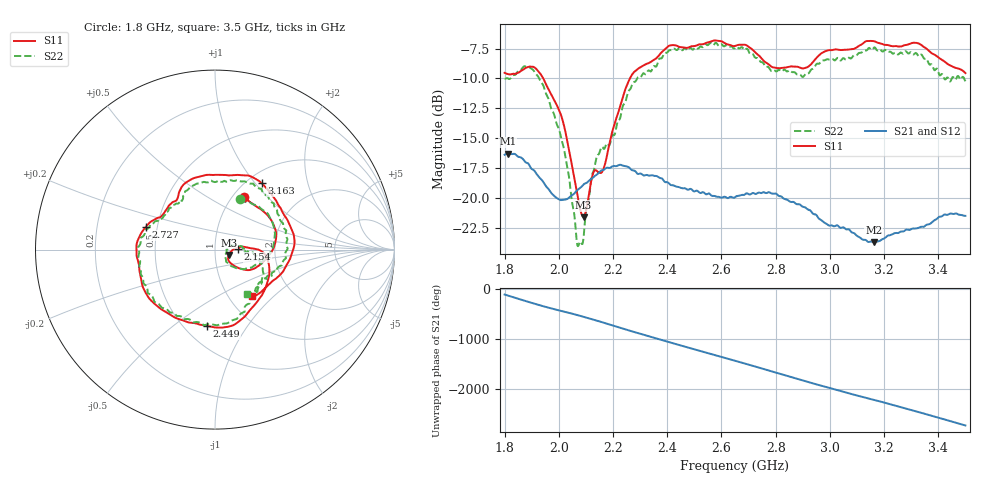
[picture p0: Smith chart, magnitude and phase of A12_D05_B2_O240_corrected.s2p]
! Created with skrf 1.9.0 (http://scikit-rf.org).
# Hz S RI R 50.0
!freq ReS11 ImS11 ReS21 ImS21 ReS12 ImS12 ReS22 ImS22
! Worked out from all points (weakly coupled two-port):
!   1601 points, 1.8 GHz to 3.5 GHz, reference 50 ohm
!   highest |S21| = -16.30 dB at 1.812 GHz (marker M1); lowest = -23.7 dB at 3.162 GHz (marker M2)
!   lowest |S11| = -21.6 dB at 2.091 GHz (marker M3), VSWR 1.18, Z = 58.2 - j3.56 ohm
!   |S11| at or under -10 dB: 1.943 GHz to 2.262 GHz (319.3 MHz wide, 15.2 % of centre)
!   |S22| runs from -24.0 to -7.0 dB; largest |S21 - S12| = 0.0028
!   S11 on the Smith chart (normalised r, x): 1.8 GHz: 1.13, +0.74; 2.154 GHz: 1.29, +0.01; 2.449 GHz: 0.64, -0.67; 2.727 GHz: 0.43, +0.13; 3.163 GHz: 1.16, +1.08; 3.5 GHz: 1.27, -0.75
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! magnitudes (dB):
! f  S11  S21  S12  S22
! 1.8 GHz  -9.5  -16.4  -16.4  -10.0
! 1.812 GHz  -9.6  -16.3  -16.3  -10.0
! 1.881 GHz  -9.1  -17.1  -17.1  -9.0
! 1.941 GHz  -9.9  -18.6  -18.6  -10.5
! 2.014 GHz  -13.5  -20.2  -20.2  -15.4
! 2.068 GHz  -19.7  -19.4  -19.4  -23.9
! 2.084 GHz  -21.4  -19.1  -19.0  -23.8
! 2.091 GHz  -21.6  -18.9  -18.9  -23.4
! 2.127 GHz  -17.9  -18.3  -18.3  -17.8
! 2.154 GHz  -17.9  -17.8  -17.8  -15.9
! 2.202 GHz  -14.1  -17.3  -17.3  -14.7
! 2.261 GHz  -10.0  -17.5  -17.5  -11.0
! 2.367 GHz  -8.1  -18.3  -18.2  -8.5
! 2.449 GHz  -7.4  -19.2  -19.2  -7.5
! 2.65 GHz  -7.3  -19.9  -19.9  -7.5
! 2.727 GHz  -7.8  -19.7  -19.7  -8.3
! 2.934 GHz  -8.7  -21.2  -21.2  -9.2
! 3.162 GHz  -6.9  -23.7  -23.7  -7.4
! 3.163 GHz  -6.9  -23.7  -23.7  -7.4
! 3.217 GHz  -7.2  -23.1  -23.1  -7.8
! 3.326 GHz  -7.1  -22.5  -22.5  -8.1
! 3.5 GHz  -9.5  -21.5  -21.5  -10.2
